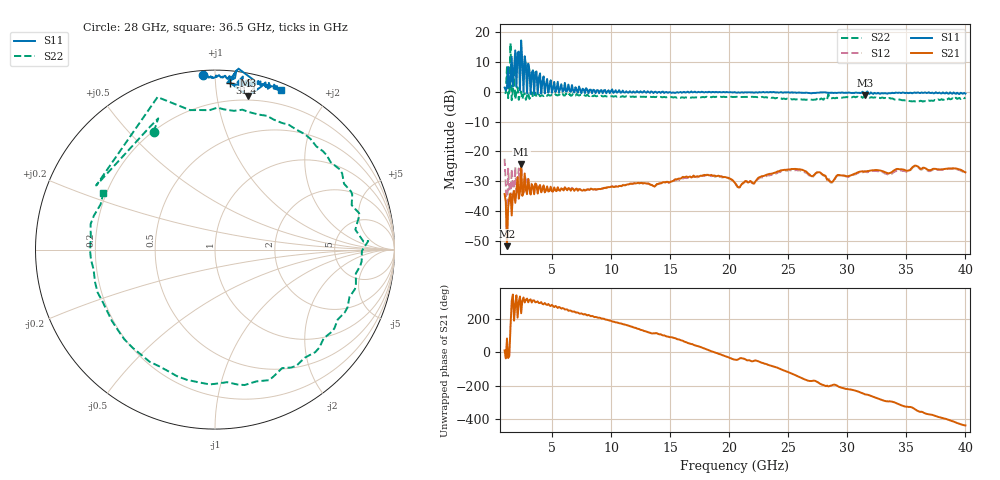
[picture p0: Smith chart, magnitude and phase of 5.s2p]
!Keysight Technologies,N5224A,MY55441802,A.10.65.16
!Date: Wednesday, May 13, 2026 18:50:28
!Correction: S11(Full 2 Port(1,2))
!S21(Full 2 Port(1,2))
!S12(Full 2 Port(1,2))
!S22(Full 2 Port(1,2))
!S2P File: Measurements: S11, S21, S12, S22:
# Hz S  dB  R 50
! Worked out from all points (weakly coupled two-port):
!   391 points, 1 GHz to 40 GHz, reference 50 ohm
!   highest |S21| = -24.29 dB at 2.4 GHz (marker M1); lowest = -51.8 dB at 1.2 GHz (marker M2)
!   lowest |S11| = -1.1 dB at 31.5 GHz (marker M3), VSWR 15.25, Z = 8.24 + j61.2 ohm
!   |S11| at or under -10 dB: nowhere
!   |S22| runs from -3.3 to 16.3 dB; largest |S21 - S12| = 0.056
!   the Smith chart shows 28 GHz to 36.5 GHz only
!   S11 on the Smith chart (normalised r, x): 28 GHz: 0.02, +0.94; 31.4 GHz: 0.07, +1.09; 36.5 GHz: 0.06, +1.49
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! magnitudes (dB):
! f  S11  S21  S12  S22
! 1 GHz  1.4  -34.3  -22.5  -0.5
! 1.2 GHz  1.3  -51.8  -51.1  8.3
! 1.3 GHz  8.3  -38.9  -25.8  -2.1
! 1.5 GHz  3.4  -34.2  -35.1  16.3
! 1.6 GHz  11.7  -41.5  -26.0  -2.8
! 2 GHz  1.6  -33.8  -33.3  -0.2
! 2.2 GHz  13.5  -35.9  -25.7  -2.7
! 2.3 GHz  0.5  -33.6  -33.9  -0.9
! 2.4 GHz  17.2  -24.3  -24.4  0.1
! 2.6 GHz  0.0  -33.8  -33.8  -0.9
! 2.7 GHz  11.9  -27.4  -28.2  -0.5
! 2.9 GHz  -0.6  -34.4  -34.1  -1.3
! 7.5 GHz  -0.5  -33.1  -33.1  -1.1
! 14 GHz  -0.1  -30.9  -31.0  -1.8
! 20.5 GHz  -0.1  -30.6  -30.5  -1.7
! 27 GHz  -0.5  -28.4  -28.4  -2.7
! 28 GHz  -0.2  -27.9  -28.2  -2.6
! 31.4 GHz  -0.6  -26.8  -27.0  -1.6
! 31.5 GHz  -1.1  -26.7  -26.7  -1.4
! 33.5 GHz  -0.5  -27.4  -27.9  -2.2
! 36.5 GHz  -0.3  -25.5  -25.8  -3.1
! 40 GHz  -0.6  -27.0  -27.3  -1.9
